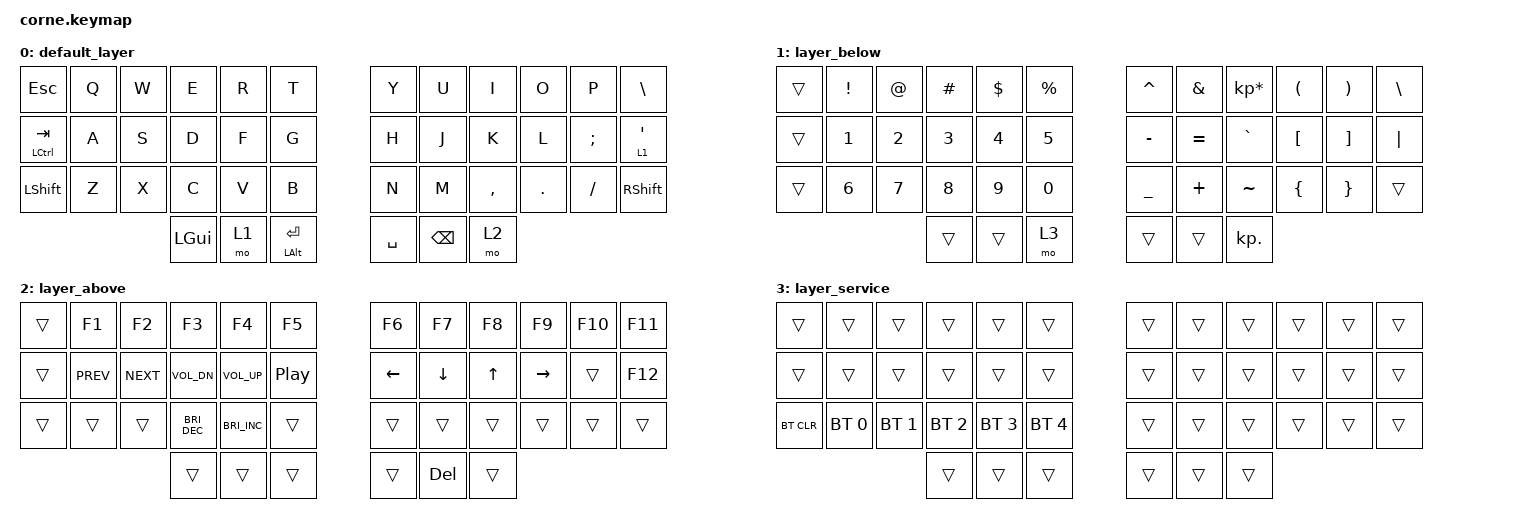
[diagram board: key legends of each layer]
/*
 * Copyright (c) 2020 The ZMK Contributors
 *
 * SPDX-License-Identifier: MIT
 */

#include <behaviors.dtsi>
#include <dt-bindings/zmk/bt.h>
#include <dt-bindings/zmk/keys.h>

/ {
    combos {
        compatible = "zmk,combos";

        backspace {
            bindings = <&kp BSPC>;
            key-positions = <12 18>;
        };
    };

    keymap {
        compatible = "zmk,keymap";

        default_layer {
            // -----------------------------------------------------------------------------------------
            // | TAB  |  Q  |  W  |  E  |  R  |    T    |   |  Y  |  U   |  I  |  O  |  P  | ESC |
            // | CTRL |  A  |  S  |  D  |  F  |    G    |   |  H  |  J   |  K  |  L  |  ;  |  LWR/'   |
            // | SHFT |  Z  |  X  |  C  |  V  |    B    |   |  N  |  M   |  ,  |  .  |  /  | SHFT |
            //                    | GUI | LWR | ALT/ENT |   | HYPER/SPC | BKSP  | RSE |

            bindings = <
&kp ESCAPE     &kp Q  &kp W  &kp E     &kp R  &kp T                 &kp Y      &kp U     &kp I      &kp O    &kp P     &kp BACKSLASH
&mt LCTRL TAB  &kp A  &kp S  &kp D     &kp F  &kp G                 &kp H      &kp J     &kp K      &kp L    &kp SEMI  &lt 1 SQT
&kp LSHFT      &kp Z  &kp X  &kp C     &kp V  &kp B                 &kp N      &kp M     &kp COMMA  &kp DOT  &kp FSLH  &kp RIGHT_SHIFT
                             &kp LGUI  &mo 1  &mt LEFT_ALT ENTER    &kp SPACE  &kp BSPC  &mo 2
            >;
        };

        layer_below {
            // -----------------------------------------------------------------------------------------
            // |      |  !  |  @  |  #  |  $  |    %     |   |  ^  |  &  |  *  |  (  |  )  |   \   |
            // |      |  1  |  2  |  3  |  4  |    5     |   |  -  |  =  |  `  |  [  |  ]  |  "|"  |
            // | SHFT |  6  |  7  |  8  |  9  |    0     |   |  _  |  +  |  ~  |  {  |  }  | RSHFT |
            //                     | GUI |     | ALT/ENT |   | HYPER/SPACE | BKSP |    |

            bindings = <
&trans  &kp EXCL  &kp AT  &kp HASH  &kp DLLR  &kp PRCNT    &kp CARET  &kp AMPS   &kp KP_MULTIPLY  &kp LPAR  &kp RPAR  &kp BSLH
&trans  &kp N1    &kp N2  &kp N3    &kp N4    &kp N5       &kp MINUS  &kp EQUAL  &kp GRAVE        &kp LBKT  &kp RBKT  &kp PIPE
&trans  &kp N6    &kp N7  &kp N8    &kp N9    &kp N0       &kp UNDER  &kp PLUS   &kp TILDE        &kp LBRC  &kp RBRC  &trans
                          &trans    &trans    &mo 3        &trans     &trans     &kp KP_DOT
            >;
        };

        layer_above {
            // -----------------------------------------------------------------------------------------
            // |       |  F1  |  F2  |  F3  |  F4  |  F5 |            |  F6  |  F7  |  F8  |  F9  |  F10  |   |
            // |       | Prev | Next | Vol - | Vol + | Play/Pause |   |      | LFT | DWN |  UP | RGT |     |     |
            // | BTCLR | BT1 | BT2 | BT3 | BT4 | BT5 |   |            |     |     |     |     |     |     |
            //                    |     |     |    |                  |     |     |     |

            bindings = <
&trans  &kp F1      &kp F2      &kp F3         &kp F4         &kp F5      &kp F6    &kp F7    &kp F8  &kp F9     &kp F10  &kp F11
&trans  &kp C_PREV  &kp C_NEXT  &kp C_VOL_DN   &kp C_VOL_UP   &kp C_PP    &kp LEFT  &kp DOWN  &kp UP  &kp RIGHT  &trans   &kp F12
&trans  &trans      &trans      &kp C_BRI_DEC  &kp C_BRI_INC  &trans      &trans    &trans    &trans  &trans     &trans   &trans
                                &trans         &trans         &trans      &trans    &kp DEL   &trans
            >;
        };

        layer_service {
            bindings = <
&trans      &trans        &trans        &trans        &trans        &trans          &trans  &trans  &trans  &trans  &trans  &trans
&trans      &trans        &trans        &trans        &trans        &trans          &trans  &trans  &trans  &trans  &trans  &trans
&bt BT_CLR  &bt BT_SEL 0  &bt BT_SEL 1  &bt BT_SEL 2  &bt BT_SEL 3  &bt BT_SEL 4    &trans  &trans  &trans  &trans  &trans  &trans
                                        &trans        &trans        &trans          &trans  &trans  &trans
            >;
        };
    };
};
